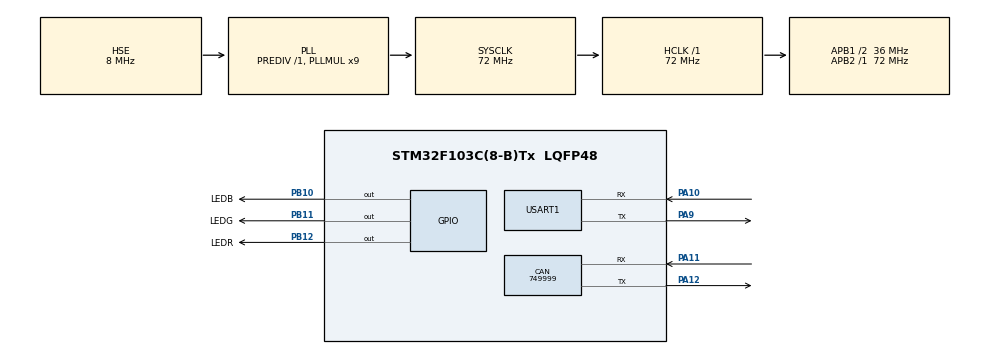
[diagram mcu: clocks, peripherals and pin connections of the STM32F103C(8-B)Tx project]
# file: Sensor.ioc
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CAN.CalculateBaudRate=749999
CAN.CalculateTimeBit=1333
CAN.CalculateTimeQuantum=444.44444444444446
Mcu.Family=STM32F1
Mcu.Name=STM32F103C(8-B)Tx
Mcu.Package=LQFP48
NVIC.CAN1_RX1_IRQn=true\:0\:0\:false\:false\:true\:true\:true\:true
NVIC.PriorityGroup=NVIC_PRIORITYGROUP_4
NVIC.TIM2_IRQn=true\:0\:0\:false\:false\:true\:true\:true\:true
NVIC.USART1_IRQn=true\:0\:0\:false\:false\:true\:true\:true\:true
PA10.Mode=Asynchronous
PA10.Signal=USART1_RX
PA11.Mode=CAN_Activate
PA11.Signal=CAN_RX
PA12.Mode=CAN_Activate
PA12.Signal=CAN_TX
PA9.Mode=Asynchronous
PA9.Signal=USART1_TX
PB10.GPIO_Label=LEDB
PB10.Signal=GPIO_Output
PB11.GPIO_Label=LEDG
PB11.Signal=GPIO_Output
PB12.GPIO_Label=LEDR
PB12.Signal=GPIO_Output
PD0-OSC_IN.Mode=HSE-External-Clock-Source
PD0-OSC_IN.Signal=RCC_OSC_IN
PD1-OSC_OUT.Mode=HSE-External-Clock-Source
PD1-OSC_OUT.Signal=RCC_OSC_OUT
ProjectManager.HeapSize=0x200
ProjectManager.StackSize=0x400
ProjectManager.TargetToolchain=STM32CubeIDE
RCC.AHBFreq_Value=72000000
RCC.APB1CLKDivider=RCC_HCLK_DIV2
RCC.APB1Freq_Value=36000000
RCC.APB1TimFreq_Value=72000000
RCC.APB2Freq_Value=72000000
RCC.APB2TimFreq_Value=72000000
RCC.HCLKFreq_Value=72000000
RCC.PLLMUL=RCC_PLL_MUL9
RCC.PLLSourceVirtual=RCC_PLLSOURCE_HSE
RCC.SYSCLKFreq_VALUE=72000000
RCC.SYSCLKSource=RCC_SYSCLKSOURCE_PLLCLK
RCC.USBFreq_Value=72000000
TIM2.AutoReloadPreload=TIM_AUTORELOAD_PRELOAD_ENABLE
TIM2.Period=1000 - 1
TIM2.Prescaler=720 - 1
USART1.VirtualMode=VM_ASYNC
VP_SYS_VS_ND.Mode=No_Debug
VP_TIM2_VS_ClockSourceINT.Mode=Internal
board=custom

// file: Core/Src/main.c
/* USER CODE BEGIN Header */
/**
  ******************************************************************************
  * @file           : main.c
  * @brief          : Main program body
  ******************************************************************************
  * @attention
  *
  * Copyright (c) 2024 STMicroelectronics.
  * All rights reserved.
  *
  * This software is licensed under terms that can be found in the LICENSE file
  * in the root directory of this software component.
  * If no LICENSE file comes with this software, it is provided AS-IS.
  *
  ******************************************************************************
  */
/* USER CODE END Header */
#include "main.h"

/* USER CODE BEGIN Includes */
#include "CAN_Diagnostic.h"
/* USER CODE END Includes */

CAN_HandleTypeDef hcan;

TIM_HandleTypeDef htim2;

//UART_HandleTypeDef huart1;

/* USER CODE BEGIN PV */
extern UART_HandleTypeDef huart1;
extern CAN_TxHeaderTypeDef TxMsg;
extern CAN_RxHeaderTypeDef RxMsg;
extern CAN_FilterTypeDef canfilterconfig;

extern uint8_t TxData[8];
extern uint8_t RxData[8];
extern uint32_t TxMailbox;
/* USER CODE END PV */

void SystemClock_Config(void);
static void MX_GPIO_Init(void);
static void MX_CAN_Init(void);
static void MX_TIM2_Init(void);
static void MX_USART1_UART_Init(void);

/* USER CODE BEGIN 0 */
void HAL_CAN_RxFifo1MsgPendingCallback(CAN_HandleTypeDef *hcan)
{
	HAL_CAN_GetRxMessage(hcan, CAN_RX_FIFO1, &RxMsg, RxData);

	if (RxMsg.StdId == CAN_DIAGNOSTIC_RESPONSE_ID)
		{
			if (RxData[1] == READ_DATA_RESPONSE_SID)
			{
				CAN_ReadDataResponeCheck(RxData);
			}
			else if (RxData[1] == WRITE_DATA_RESPONSE_SID)
			{
				CAN_WriteDataResponeCheck(RxData);
			}
			else if (RxData[1] == CAN_SECURITY_ACCESS_RESPONSE_SID)
			{
			    if (RxData[2] == CAN_SECURITY_KEY_LEVEL)
				{
					CAN_SecurityKeyResponeCheck(RxData);
				}
			    else if (RxData[2] == CAN_SECURITY_SEED_LEVEL)
			    {
			    	CAN_SecuritySeedResponeCheck(RxData);
			    	CAN_SecurityKeyRequest(hcan);
			    }
			} else if (RxData[1] == NEGATIVE_RESPONSE)
			{
				CAN_ErrorHandler(RxData);
			}
		}
}

void HAL_TIM_PeriodElapsedCallback(TIM_HandleTypeDef *htim)
{
	if (htim->Instance == htim2.Instance)
	{
		CAN_ReadDataRequest(&hcan);
//		CAN_WriteDataRequest(&hcan);
//		CAN_SecuritySeedRequest(&hcan);
	}
}
/* USER CODE END 0 */

int main(void)
{

  /* MCU Configuration--------------------------------------------------------*/

  /* Reset of all peripherals, Initializes the Flash interface and the Systick. */
  HAL_Init();

  /* Configure the system clock */
  SystemClock_Config();

  /* Initialize all configured peripherals */
  MX_GPIO_Init();
  MX_CAN_Init();
  MX_TIM2_Init();
  MX_USART1_UART_Init();
  /* USER CODE BEGIN 2 */
  HAL_TIM_Base_Start_IT(&htim2);
  HAL_CAN_Start(&hcan);
  HAL_CAN_ActivateNotification(&hcan, CAN_IT_RX_FIFO1_MSG_PENDING);
  CAN_Config(&hcan);
  /* USER CODE END 2 */

  /* Infinite loop */
  while (1)
  {

  }
}

void SystemClock_Config(void)
{
  RCC_OscInitTypeDef RCC_OscInitStruct = {0};
  RCC_ClkInitTypeDef RCC_ClkInitStruct = {0};

  /** Initializes the RCC Oscillators according to the specified parameters
  * in the RCC_OscInitTypeDef structure.
  */
  RCC_OscInitStruct.OscillatorType = RCC_OSCILLATORTYPE_HSE;
  RCC_OscInitStruct.HSEState = RCC_HSE_BYPASS;
  RCC_OscInitStruct.HSEPredivValue = RCC_HSE_PREDIV_DIV1;
  RCC_OscInitStruct.HSIState = RCC_HSI_ON;
  RCC_OscInitStruct.PLL.PLLState = RCC_PLL_ON;
  RCC_OscInitStruct.PLL.PLLSource = RCC_PLLSOURCE_HSE;
  RCC_OscInitStruct.PLL.PLLMUL = RCC_PLL_MUL9;
  if (HAL_RCC_OscConfig(&RCC_OscInitStruct) != HAL_OK)
  {
    Error_Handler();
  }

  /** Initializes the CPU, AHB and APB buses clocks
  */
  RCC_ClkInitStruct.ClockType = RCC_CLOCKTYPE_HCLK|RCC_CLOCKTYPE_SYSCLK
                              |RCC_CLOCKTYPE_PCLK1|RCC_CLOCKTYPE_PCLK2;
  RCC_ClkInitStruct.SYSCLKSource = RCC_SYSCLKSOURCE_PLLCLK;
  RCC_ClkInitStruct.AHBCLKDivider = RCC_SYSCLK_DIV1;
  RCC_ClkInitStruct.APB1CLKDivider = RCC_HCLK_DIV2;
  RCC_ClkInitStruct.APB2CLKDivider = RCC_HCLK_DIV1;

  if (HAL_RCC_ClockConfig(&RCC_ClkInitStruct, FLASH_LATENCY_2) != HAL_OK)
  {
    Error_Handler();
  }
}

static void MX_CAN_Init(void)
{

  hcan.Instance = CAN1;
  hcan.Init.Prescaler = 16;
  hcan.Init.Mode = CAN_MODE_NORMAL;
  hcan.Init.SyncJumpWidth = CAN_SJW_1TQ;
  hcan.Init.TimeSeg1 = CAN_BS1_1TQ;
  hcan.Init.TimeSeg2 = CAN_BS2_1TQ;
  hcan.Init.TimeTriggeredMode = DISABLE;
  hcan.Init.AutoBusOff = DISABLE;
  hcan.Init.AutoWakeUp = DISABLE;
  hcan.Init.AutoRetransmission = DISABLE;
  hcan.Init.ReceiveFifoLocked = DISABLE;
  hcan.Init.TransmitFifoPriority = DISABLE;
  if (HAL_CAN_Init(&hcan) != HAL_OK)
  {
    Error_Handler();
  }

}

static void MX_TIM2_Init(void)
{

  TIM_ClockConfigTypeDef sClockSourceConfig = {0};
  TIM_MasterConfigTypeDef sMasterConfig = {0};

  htim2.Instance = TIM2;
  htim2.Init.Prescaler = 720 - 1;
  htim2.Init.CounterMode = TIM_COUNTERMODE_UP;
  htim2.Init.Period = 1000 - 1;
  htim2.Init.ClockDivision = TIM_CLOCKDIVISION_DIV1;
  htim2.Init.AutoReloadPreload = TIM_AUTORELOAD_PRELOAD_ENABLE;
  if (HAL_TIM_Base_Init(&htim2) != HAL_OK)
  {
    Error_Handler();
  }
  sClockSourceConfig.ClockSource = TIM_CLOCKSOURCE_INTERNAL;
  if (HAL_TIM_ConfigClockSource(&htim2, &sClockSourceConfig) != HAL_OK)
  {
    Error_Handler();
  }
  sMasterConfig.MasterOutputTrigger = TIM_TRGO_RESET;
  sMasterConfig.MasterSlaveMode = TIM_MASTERSLAVEMODE_DISABLE;
  if (HAL_TIMEx_MasterConfigSynchronization(&htim2, &sMasterConfig) != HAL_OK)
  {
    Error_Handler();
  }

}

static void MX_USART1_UART_Init(void)
{

  huart1.Instance = USART1;
  huart1.Init.BaudRate = 115200;
  huart1.Init.WordLength = UART_WORDLENGTH_8B;
  huart1.Init.StopBits = UART_STOPBITS_1;
  huart1.Init.Parity = UART_PARITY_NONE;
  huart1.Init.Mode = UART_MODE_TX_RX;
  huart1.Init.HwFlowCtl = UART_HWCONTROL_NONE;
  huart1.Init.OverSampling = UART_OVERSAMPLING_16;
  if (HAL_UART_Init(&huart1) != HAL_OK)
  {
    Error_Handler();
  }

}

static void MX_GPIO_Init(void)
{
  GPIO_InitTypeDef GPIO_InitStruct = {0};

  /* GPIO Ports Clock Enable */
  __HAL_RCC_GPIOD_CLK_ENABLE();
  __HAL_RCC_GPIOB_CLK_ENABLE();
  __HAL_RCC_GPIOA_CLK_ENABLE();

  /*Configure GPIO pin Output Level */
  HAL_GPIO_WritePin(GPIOB, LEDB_Pin|LEDG_Pin|LEDR_Pin, GPIO_PIN_RESET);

  /*Configure GPIO pins : LEDB_Pin LEDG_Pin LEDR_Pin */
  GPIO_InitStruct.Pin = LEDB_Pin|LEDG_Pin|LEDR_Pin;
  GPIO_InitStruct.Mode = GPIO_MODE_OUTPUT_PP;
  GPIO_InitStruct.Pull = GPIO_NOPULL;
  GPIO_InitStruct.Speed = GPIO_SPEED_FREQ_LOW;
  HAL_GPIO_Init(GPIOB, &GPIO_InitStruct);

}

void Error_Handler(void)
{
  __disable_irq();
  while (1)
  {
  }
}
